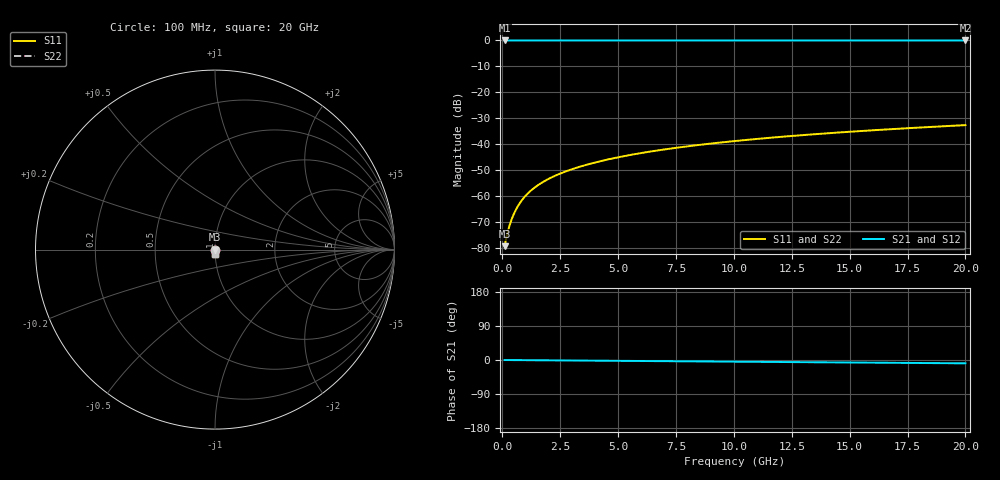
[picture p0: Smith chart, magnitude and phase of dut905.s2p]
! Touchstone file exported from HFSS 2026.1.0
!  File:  C:/ffzhzh/LocalFiles/Ansys_Project_Files/temp_train_TSV_905_1783186244_51560.aedt
!  Generated:  01:32:10 AM Jul  5, 2026
!  Design:  TSV
!  Project:  temp_train_TSV_905_1783186244_51560
! Variables:
!  h_bsmrdl = 2um
!  h_ox = 20um
!  h_rdl = 5um
!  h_sub = 87.78um
!  h_tmrdl = 5um
!  h_tsv = 87.78um
!  h_via = 3um
!  l_bsmrdl = 300um
!  l_sub = 429.28um
!  l_tmrdl = 200um
!  m_sub = 200um
!  pitch = 50.55um
!  r_tsv = 14.64um
!  s_tmrdl = 10um
!  w_bsmrdl = 18um
!  w_sub = 500um
!  w_tmrdl = 12um
!  x_tsv_center1 = 206um
!  x_tsv_center2 = 524um
!  x_tsv_center3 = 736um
!  x_tsv_center4 = 1054um
!  x_tsv_center5 = 1266um
!  x_tsv_center6 = 1584um
# GHz S MA R 50.000000
! Terminal data exported
! Port[1] = TSV1_1_T1
! Port[2] = TSV1_1_T2
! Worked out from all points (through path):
!   200 points, 100 MHz to 20 GHz, reference 50 ohm
!   highest |S21| = 0.00 dB at 100 MHz (marker M1); lowest = 0.0 dB at 20 GHz (marker M2)
!   group delay of S21, straight-line fit = 1.22 ps
!   lowest |S11| = -79.5 dB at 100 MHz (marker M3), VSWR 1.00, Z = 50 - j0.00703 ohm
!   |S11| at or under -10 dB: start of sweep to end of sweep
!   |S22| runs from -79.5 to -32.7 dB; largest |S21 - S12| = 3e-15
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0.1  0.0001063 -41.4  0.9999 -0.0  0.9999 -0.0  0.0001063 -41.4
! Gamma 0 0 0 0
! Port Impedance 50 0 50 0
0.2  0.0001735 -56.7  0.9999 -0.1  0.9999 -0.1  0.0001735 -56.7
0.3  0.0002556 -62.7  0.9999 -0.1  0.9999 -0.1  0.0002556 -62.7
0.4  0.0003477 -65.9  0.9999 -0.2  0.9999 -0.2  0.0003477 -65.9
0.5  0.0004472 -68.0  0.9998 -0.2  0.9998 -0.2  0.0004472 -68.0
0.6  0.0005519 -69.8  0.9998 -0.3  0.9998 -0.3  0.0005519 -69.8
0.8  0.0007702 -72.6  0.9998 -0.4  0.9998 -0.4  0.0007702 -72.6
1.1  0.001107 -75.9  0.9997 -0.5  0.9997 -0.5  0.001107 -75.9
1.3  0.001332 -77.5  0.9997 -0.6  0.9997 -0.6  0.001332 -77.5
1.5  0.001558 -78.8  0.9997 -0.7  0.9997 -0.7  0.001558 -78.8
1.8  0.001896 -80.4  0.9997 -0.8  0.9997 -0.8  0.001896 -80.4
2.1  0.002234 -81.5  0.9996 -0.9  0.9996 -0.9  0.002234 -81.5
2.7  0.00291 -83.2  0.9996 -1.2  0.9996 -1.2  0.00291 -83.2
3.5  0.003816 -84.7  0.9995 -1.6  0.9995 -1.6  0.003816 -84.7
4.2  0.004614 -85.7  0.9995 -1.9  0.9995 -1.9  0.004614 -85.7
5  0.005533 -86.6  0.9994 -2.2  0.9994 -2.2  0.005533 -86.6
6.8  0.007619 -88.2  0.9993 -3.0  0.9993 -3.0  0.007619 -88.2
8.3  0.00937 -89.3  0.9993 -3.7  0.9993 -3.7  0.00937 -89.3
10.1  0.01148 -90.6  0.9992 -4.4  0.9992 -4.4  0.01148 -90.6
13.4  0.01535 -92.6  0.999 -5.9  0.999 -5.9  0.01535 -92.6
16.7  0.01924 -94.4  0.9988 -7.3  0.9988 -7.3  0.01924 -94.4
20  0.02315 -96.1  0.9986 -8.8  0.9986 -8.8  0.02315 -96.1
